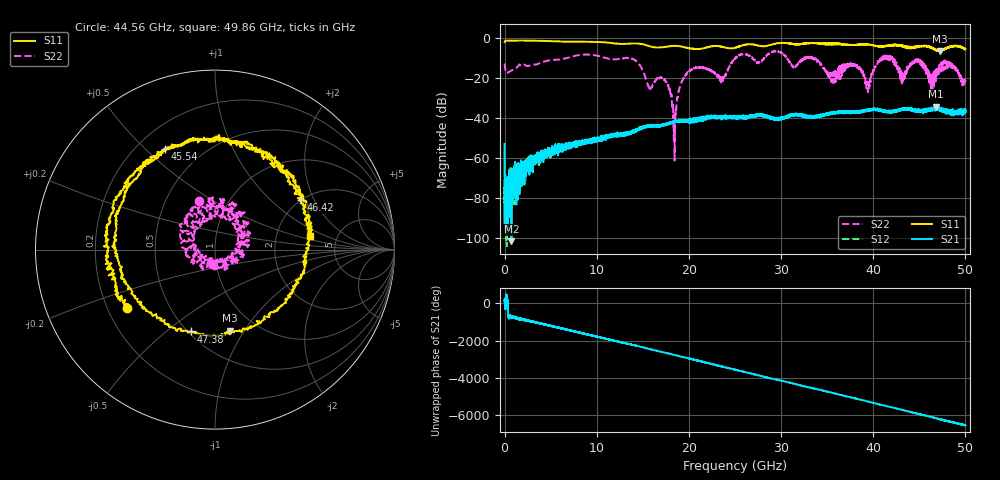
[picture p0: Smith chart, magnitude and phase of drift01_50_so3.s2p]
!Created with skrf (http://scikit-rf.org).
# Hz S RI R 50.0
!freq ReS11 ImS11 ReS21 ImS21 ReS12 ImS12 ReS22 ImS22
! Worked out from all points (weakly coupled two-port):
!   10001 points, 300 kHz to 50 GHz, reference 50 ohm
!   highest |S21| = -34.27 dB at 46.82 GHz (marker M1); lowest = -101.3 dB at 740.3 MHz (marker M2)
!   lowest |S11| = -6.7 dB at 47.2 GHz (marker M3), VSWR 2.70, Z = 37.6 - j43.1 ohm
!   |S11| at or under -10 dB: nowhere
!   |S22| runs from -61.2 to -6.6 dB; largest |S21 - S12| = 0.004
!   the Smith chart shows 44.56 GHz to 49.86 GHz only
!   S11 on the Smith chart (normalised r, x): 44.56 GHz: 0.28, -0.28; 45.54 GHz: 0.31, +0.58; 46.42 GHz: 2.00, +1.59; 47.38 GHz: 0.52, -0.61; 49.86 GHz: 3.16, +0.67
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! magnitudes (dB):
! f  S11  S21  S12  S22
! 300 kHz  -2.1  -52.8  -72.1  -12.9
! 255.3 MHz  -1.4  -76.0  -70.9  -17.5
! 740.3 MHz  -1.5  -101.3  -67.7  -16.3
! 8.335 GHz  -2.0  -52.3  -52.4  -8.5
! 16.67 GHz  -4.9  -43.7  -44.0  -20.0
! 17.74 GHz  -4.4  -42.9  -43.1  -23.5
! 18.42 GHz  -4.1  -41.8  -41.9  -46.8
! 19.9 GHz  -5.1  -41.4  -41.6  -17.2
! 23.59 GHz  -4.5  -39.6  -39.5  -19.8
! 25 GHz  -5.0  -39.5  -39.6  -10.6
! 33.34 GHz  -2.6  -39.4  -39.3  -9.8
! 39.36 GHz  -3.3  -35.9  -36.1  -22.4
! 41.67 GHz  -3.9  -37.1  -37.1  -9.9
! 43.18 GHz  -4.3  -35.8  -35.9  -18.3
! 44.56 GHz  -4.6  -36.0  -36.1  -11.0
! 45.54 GHz  -4.1  -36.8  -36.4  -13.7
! 46.42 GHz  -5.1  -35.8  -35.6  -23.7
! 46.82 GHz  -6.0  -34.3  -35.3  -16.1
! 47.2 GHz  -6.7  -35.6  -35.0  -13.6
! 47.38 GHz  -6.5  -35.4  -35.4  -12.7
! 49.86 GHz  -5.4  -35.6  -36.1  -22.3
! 50 GHz  -5.6  -36.7  -36.3  -21.8
